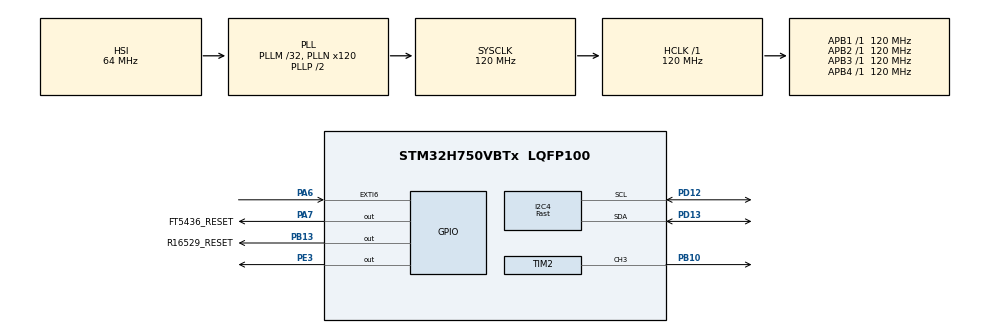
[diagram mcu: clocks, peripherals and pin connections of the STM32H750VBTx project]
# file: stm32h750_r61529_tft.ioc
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I2C4.Analog_Filter=I2C_ANALOGFILTER_DISABLE
I2C4.CustomTiming=Enabled
I2C4.I2C_Speed_Mode=I2C_Fast
I2C4.Speed=50
I2C4.Timing=0x107075B0
Mcu.Family=STM32H7
Mcu.Name=STM32H750VBTx
Mcu.Package=LQFP100
NVIC.EXTI9_5_IRQn=true\:1\:0\:true\:false\:true\:true\:true\:true
NVIC.PriorityGroup=NVIC_PRIORITYGROUP_4
PA6.Signal=GPXTI6
PA7.GPIO_Label=FT5436_RESET
PA7.GPIO_ModeDefaultOutputPP=GPIO_MODE_OUTPUT_PP
PA7.GPIO_PuPd=GPIO_NOPULL
PA7.PinState=GPIO_PIN_SET
PA7.Signal=GPIO_Output
PB10.Signal=S_TIM2_CH3
PB13.GPIO_Label=R16529_RESET
PB13.GPIO_ModeDefaultOutputPP=GPIO_MODE_OUTPUT_PP
PB13.GPIO_PuPd=GPIO_PULLUP
PB13.GPIO_Speed=GPIO_SPEED_FREQ_LOW
PB13.PinState=GPIO_PIN_SET
PB13.Signal=GPIO_Output
PD12.GPIO_Pu=GPIO_PULLUP
PD12.Mode=I2C
PD12.Signal=I2C4_SCL
PD13.GPIO_Pu=GPIO_PULLUP
PD13.Mode=I2C
PD13.Signal=I2C4_SDA
PE3.Signal=GPIO_Output
ProjectManager.HeapSize=0x200
ProjectManager.StackSize=0x400
ProjectManager.TargetToolchain=STM32CubeIDE
RCC.ADCFreq_Value=75000000
RCC.APB1Freq_Value=120000000
RCC.APB2Freq_Value=120000000
RCC.APB3Freq_Value=120000000
RCC.APB4Freq_Value=120000000
RCC.CortexFreq_Value=120000000
RCC.DIVN1=120
RCC.DIVN2=75
RCC.DIVN3=160
RCC.DIVQ1=16
RCC.DIVR2=3
RCC.DIVR3=8
RCC.HCLKFreq_Value=120000000
RCC.I2C4CLockSelection=RCC_I2C4CLKSOURCE_PLL3
RCC.SYSCLKFreq_VALUE=120000000
RCC.SYSCLKSource=RCC_SYSCLKSOURCE_PLLCLK
RCC.USBFreq_Value=15000000
SH.S_TIM2_CH3.0=TIM2_CH3,PWM Generation3 CH3
TIM2.Channel-PWM\ Generation3\ CH3=TIM_CHANNEL_3
TIM2.Period=19650 - 1
TIM2.Prescaler=50
TIM2.Pulse-PWM\ Generation3\ CH3=9825
board=custom

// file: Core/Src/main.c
/* USER CODE BEGIN Header */
/**
  ******************************************************************************
  * @file           : main.c
  * @brief          : Main program body
  ******************************************************************************
  * @attention
  *
  * Copyright (c) 2023 STMicroelectronics.
  * All rights reserved.
  *
  * This software is licensed under terms that can be found in the LICENSE file
  * in the root directory of this software component.
  * If no LICENSE file comes with this software, it is provided AS-IS.
  *
  ******************************************************************************
  */
/* USER CODE END Header */
#include "main.h"

/* USER CODE BEGIN Includes */
#include "systick_timer.h"
#include "r61529.h"
#include "fonts.h"
#include "ft5436.h"

/* USER CODE END Includes */

I2C_HandleTypeDef hi2c4;

TIM_HandleTypeDef htim2;

void SystemClock_Config(void);
static void MX_GPIO_Init(void);
static void MX_TIM2_Init(void);
static void MX_I2C4_Init(void);
/* USER CODE BEGIN PFP */
void MCU_Init();
void Blink_LED();

/* USER CODE END PFP */

/* USER CODE BEGIN 0 */
void MCU_Init(){
	GPIO_InitTypeDef GPIO_InitStruct ={0};
	/** FMC GPIO Configuration
	PE7   ------> FMC_D4
	PE8   ------> FMC_D5
	PE9   ------> FMC_D6
	PE10   ------> FMC_D7
	PE11   ------> FMC_D8
	PE12   ------> FMC_D9
	PE13   ------> FMC_D10
	PE14   ------> FMC_D11
	PE15   ------> FMC_D12
	PD8   ------> FMC_D13
	PD9   ------> FMC_D14
	PD10   ------> FMC_D15
	PD11   ------> FMC_A16
	PD14   ------> FMC_D0
	PD15   ------> FMC_D1
	PC7   ------> FMC_NE1
	PD0   ------> FMC_D2
	PD1   ------> FMC_D3
	PD4   ------> FMC_NOE
	PD5   ------> FMC_NWE
	*/

	// Enable GPIO blocks
	__HAL_RCC_GPIOE_CLK_ENABLE();
	__HAL_RCC_GPIOA_CLK_ENABLE();
	__HAL_RCC_GPIOB_CLK_ENABLE();
	__HAL_RCC_GPIOD_CLK_ENABLE();
	__HAL_RCC_GPIOC_CLK_ENABLE();

	GPIO_InitStruct.Pin = GPIO_PIN_7|GPIO_PIN_8|GPIO_PIN_9|GPIO_PIN_10|GPIO_PIN_11
							|GPIO_PIN_12|GPIO_PIN_13|GPIO_PIN_14|GPIO_PIN_15;
	GPIO_InitStruct.Mode = GPIO_MODE_OUTPUT_PP;
	GPIO_InitStruct.Pull = GPIO_NOPULL;
	GPIO_InitStruct.Speed = GPIO_SPEED_FREQ_VERY_HIGH;
	HAL_GPIO_Init(GPIOE, &GPIO_InitStruct);

	GPIO_InitStruct.Pin = GPIO_PIN_8|GPIO_PIN_9|GPIO_PIN_10|GPIO_PIN_11|GPIO_PIN_14
							|GPIO_PIN_15|GPIO_PIN_0|GPIO_PIN_1|GPIO_PIN_4|GPIO_PIN_5;
	GPIO_InitStruct.Mode = GPIO_MODE_OUTPUT_PP;
	GPIO_InitStruct.Pull = GPIO_NOPULL;
	GPIO_InitStruct.Speed = GPIO_SPEED_FREQ_VERY_HIGH;
	HAL_GPIO_Init(GPIOD, &GPIO_InitStruct);

	GPIO_InitStruct.Pin = GPIO_PIN_7;
	GPIO_InitStruct.Mode = GPIO_MODE_OUTPUT_PP;
	GPIO_InitStruct.Pull = GPIO_NOPULL;
	GPIO_InitStruct.Speed = GPIO_SPEED_FREQ_VERY_HIGH;
	HAL_GPIO_Init(GPIOC, &GPIO_InitStruct);

	/*--------------------------------------------------------------------------*/
	/*--------------------------------------------------------------------------*/
	/*--------------------------------------------------------------------------*/
	HAL_NVIC_SetPriority(SysTick_IRQn, 0x0, 0x0);
	HAL_NVIC_EnableIRQ(SysTick_IRQn);

	// Turn on screen back light
	HAL_TIM_PWM_Start(&htim2, TIM_CHANNEL_3);

	// Initialize screen controller
	Init_R61529();

	//Rotation test
	R61529_rotation_test();

	// Draw on screen
	R61529_SetRotation(ROTATE_RIGHT);
	R61529_FillScreen(BLACK);
	R61529_FillScreen(RED);
	R61529_FillScreen(BLUE);
	R61529_FillScreen(GREEN);
	R61529_FillScreen(BLACK);
	R61529_WriteString(5, 10, "Initialization complete", Font_11x18, GREEN, BLACK);
	R61529_WriteString(5, 30, "Touch 1: ", Font_7x10, GREEN, BLACK);
	R61529_WriteString(5, 45, "Touch 2: ", Font_7x10, GREEN, BLACK);
	R61529_WriteString(5, 60, "Touch 3: ", Font_7x10, GREEN, BLACK);
	R61529_WriteString(5, 75, "Touch 4: ", Font_7x10, GREEN, BLACK);
	R61529_WriteString(5, 90, "Touch 5: ", Font_7x10, GREEN, BLACK);

	// Initialize touch screen controller
	Init_FT5436();
}

void Blink_LED(){
	if(wait_ms_ch(0, 1000)){	//750
		if(HAL_GPIO_ReadPin(GPIOE, GPIO_PIN_3) != GPIO_PIN_SET){
			HAL_GPIO_WritePin(GPIOE, GPIO_PIN_3, GPIO_PIN_SET);
		}else{
			HAL_GPIO_WritePin(GPIOE, GPIO_PIN_3, GPIO_PIN_RESET);
		}
	}
}

/* USER CODE END 0 */

int main(void)
{

  /* MCU Configuration--------------------------------------------------------*/

  /* Reset of all peripherals, Initializes the Flash interface and the Systick. */
  HAL_Init();

  /* Configure the system clock */
  SystemClock_Config();

  /* Initialize all configured peripherals */
  MX_GPIO_Init();
  MX_TIM2_Init();
  MX_I2C4_Init();
  /* USER CODE BEGIN 2 */
  MCU_Init();

  /* USER CODE END 2 */

  /* Infinite loop */
  /* USER CODE BEGIN WHILE */
  while(1){
	  Blink_LED();
	  touch_move();
    /* USER CODE END WHILE */

  }
}

void SystemClock_Config(void)
{
  RCC_OscInitTypeDef RCC_OscInitStruct = {0};
  RCC_ClkInitTypeDef RCC_ClkInitStruct = {0};

  /** Supply configuration update enable
  */
  HAL_PWREx_ConfigSupply(PWR_LDO_SUPPLY);

  /** Configure the main internal regulator output voltage
  */
  __HAL_PWR_VOLTAGESCALING_CONFIG(PWR_REGULATOR_VOLTAGE_SCALE3);

  while(!__HAL_PWR_GET_FLAG(PWR_FLAG_VOSRDY)) {}

  /** Initializes the RCC Oscillators according to the specified parameters
  * in the RCC_OscInitTypeDef structure.
  */
  RCC_OscInitStruct.OscillatorType = RCC_OSCILLATORTYPE_HSI;
  RCC_OscInitStruct.HSIState = RCC_HSI_DIV1;
  RCC_OscInitStruct.HSICalibrationValue = RCC_HSICALIBRATION_DEFAULT;
  RCC_OscInitStruct.PLL.PLLState = RCC_PLL_ON;
  RCC_OscInitStruct.PLL.PLLSource = RCC_PLLSOURCE_HSI;
  RCC_OscInitStruct.PLL.PLLM = 32;
  RCC_OscInitStruct.PLL.PLLN = 120;
  RCC_OscInitStruct.PLL.PLLP = 2;
  RCC_OscInitStruct.PLL.PLLQ = 16;
  RCC_OscInitStruct.PLL.PLLR = 2;
  RCC_OscInitStruct.PLL.PLLRGE = RCC_PLL1VCIRANGE_1;
  RCC_OscInitStruct.PLL.PLLVCOSEL = RCC_PLL1VCOWIDE;
  RCC_OscInitStruct.PLL.PLLFRACN = 0;
  if (HAL_RCC_OscConfig(&RCC_OscInitStruct) != HAL_OK)
  {
    Error_Handler();
  }

  /** Initializes the CPU, AHB and APB buses clocks
  */
  RCC_ClkInitStruct.ClockType = RCC_CLOCKTYPE_HCLK|RCC_CLOCKTYPE_SYSCLK
                              |RCC_CLOCKTYPE_PCLK1|RCC_CLOCKTYPE_PCLK2
                              |RCC_CLOCKTYPE_D3PCLK1|RCC_CLOCKTYPE_D1PCLK1;
  RCC_ClkInitStruct.SYSCLKSource = RCC_SYSCLKSOURCE_PLLCLK;
  RCC_ClkInitStruct.SYSCLKDivider = RCC_SYSCLK_DIV1;
  RCC_ClkInitStruct.AHBCLKDivider = RCC_HCLK_DIV1;
  RCC_ClkInitStruct.APB3CLKDivider = RCC_APB3_DIV1;
  RCC_ClkInitStruct.APB1CLKDivider = RCC_APB1_DIV1;
  RCC_ClkInitStruct.APB2CLKDivider = RCC_APB2_DIV1;
  RCC_ClkInitStruct.APB4CLKDivider = RCC_APB4_DIV1;

  if (HAL_RCC_ClockConfig(&RCC_ClkInitStruct, FLASH_LATENCY_2) != HAL_OK)
  {
    Error_Handler();
  }
}

static void MX_I2C4_Init(void)
{

  hi2c4.Instance = I2C4;
  hi2c4.Init.Timing = 0x107075B0;
  hi2c4.Init.OwnAddress1 = 0;
  hi2c4.Init.AddressingMode = I2C_ADDRESSINGMODE_7BIT;
  hi2c4.Init.DualAddressMode = I2C_DUALADDRESS_DISABLE;
  hi2c4.Init.OwnAddress2 = 0;
  hi2c4.Init.OwnAddress2Masks = I2C_OA2_NOMASK;
  hi2c4.Init.GeneralCallMode = I2C_GENERALCALL_DISABLE;
  hi2c4.Init.NoStretchMode = I2C_NOSTRETCH_DISABLE;
  if (HAL_I2C_Init(&hi2c4) != HAL_OK)
  {
    Error_Handler();
  }

  /** Configure Analogue filter
  */
  if (HAL_I2CEx_ConfigAnalogFilter(&hi2c4, I2C_ANALOGFILTER_DISABLE) != HAL_OK)
  {
    Error_Handler();
  }

  /** Configure Digital filter
  */
  if (HAL_I2CEx_ConfigDigitalFilter(&hi2c4, 0) != HAL_OK)
  {
    Error_Handler();
  }

}

static void MX_TIM2_Init(void)
{

  TIM_MasterConfigTypeDef sMasterConfig = {0};
  TIM_OC_InitTypeDef sConfigOC = {0};

  htim2.Instance = TIM2;
  htim2.Init.Prescaler = 50;
  htim2.Init.CounterMode = TIM_COUNTERMODE_UP;
  htim2.Init.Period = 19650 - 1;
  htim2.Init.ClockDivision = TIM_CLOCKDIVISION_DIV1;
  htim2.Init.AutoReloadPreload = TIM_AUTORELOAD_PRELOAD_DISABLE;
  if (HAL_TIM_PWM_Init(&htim2) != HAL_OK)
  {
    Error_Handler();
  }
  sMasterConfig.MasterOutputTrigger = TIM_TRGO_RESET;
  sMasterConfig.MasterSlaveMode = TIM_MASTERSLAVEMODE_DISABLE;
  if (HAL_TIMEx_MasterConfigSynchronization(&htim2, &sMasterConfig) != HAL_OK)
  {
    Error_Handler();
  }
  sConfigOC.OCMode = TIM_OCMODE_PWM1;
  sConfigOC.Pulse = 9825;
  sConfigOC.OCPolarity = TIM_OCPOLARITY_HIGH;
  sConfigOC.OCFastMode = TIM_OCFAST_DISABLE;
  if (HAL_TIM_PWM_ConfigChannel(&htim2, &sConfigOC, TIM_CHANNEL_3) != HAL_OK)
  {
    Error_Handler();
  }
  HAL_TIM_MspPostInit(&htim2);

}

static void MX_GPIO_Init(void)
{
  GPIO_InitTypeDef GPIO_InitStruct = {0};

  /* GPIO Ports Clock Enable */
  __HAL_RCC_GPIOE_CLK_ENABLE();
  __HAL_RCC_GPIOA_CLK_ENABLE();
  __HAL_RCC_GPIOB_CLK_ENABLE();
  __HAL_RCC_GPIOD_CLK_ENABLE();

  /*Configure GPIO pin Output Level */
  HAL_GPIO_WritePin(GPIOE, GPIO_PIN_3, GPIO_PIN_RESET);

  /*Configure GPIO pin Output Level */
  HAL_GPIO_WritePin(FT5436_RESET_GPIO_Port, FT5436_RESET_Pin, GPIO_PIN_SET);

  /*Configure GPIO pin Output Level */
  HAL_GPIO_WritePin(R16529_RESET_GPIO_Port, R16529_RESET_Pin, GPIO_PIN_SET);

  /*Configure GPIO pin : PE3 */
  GPIO_InitStruct.Pin = GPIO_PIN_3;
  GPIO_InitStruct.Mode = GPIO_MODE_OUTPUT_PP;
  GPIO_InitStruct.Pull = GPIO_NOPULL;
  GPIO_InitStruct.Speed = GPIO_SPEED_FREQ_LOW;
  HAL_GPIO_Init(GPIOE, &GPIO_InitStruct);

  /*Configure GPIO pin : PA6 */
  GPIO_InitStruct.Pin = GPIO_PIN_6;
  GPIO_InitStruct.Mode = GPIO_MODE_IT_RISING;
  GPIO_InitStruct.Pull = GPIO_NOPULL;
  HAL_GPIO_Init(GPIOA, &GPIO_InitStruct);

  /*Configure GPIO pin : FT5436_RESET_Pin */
  GPIO_InitStruct.Pin = FT5436_RESET_Pin;
  GPIO_InitStruct.Mode = GPIO_MODE_OUTPUT_PP;
  GPIO_InitStruct.Pull = GPIO_NOPULL;
  GPIO_InitStruct.Speed = GPIO_SPEED_FREQ_LOW;
  HAL_GPIO_Init(FT5436_RESET_GPIO_Port, &GPIO_InitStruct);

  /*Configure GPIO pin : R16529_RESET_Pin */
  GPIO_InitStruct.Pin = R16529_RESET_Pin;
  GPIO_InitStruct.Mode = GPIO_MODE_OUTPUT_PP;
  GPIO_InitStruct.Pull = GPIO_PULLUP;
  GPIO_InitStruct.Speed = GPIO_SPEED_FREQ_LOW;
  HAL_GPIO_Init(R16529_RESET_GPIO_Port, &GPIO_InitStruct);

  /* EXTI interrupt init*/
  HAL_NVIC_SetPriority(EXTI9_5_IRQn, 1, 0);
  HAL_NVIC_EnableIRQ(EXTI9_5_IRQn);

}

void Error_Handler(void)
{
  __disable_irq();
  while (1)
  {
  }
}
